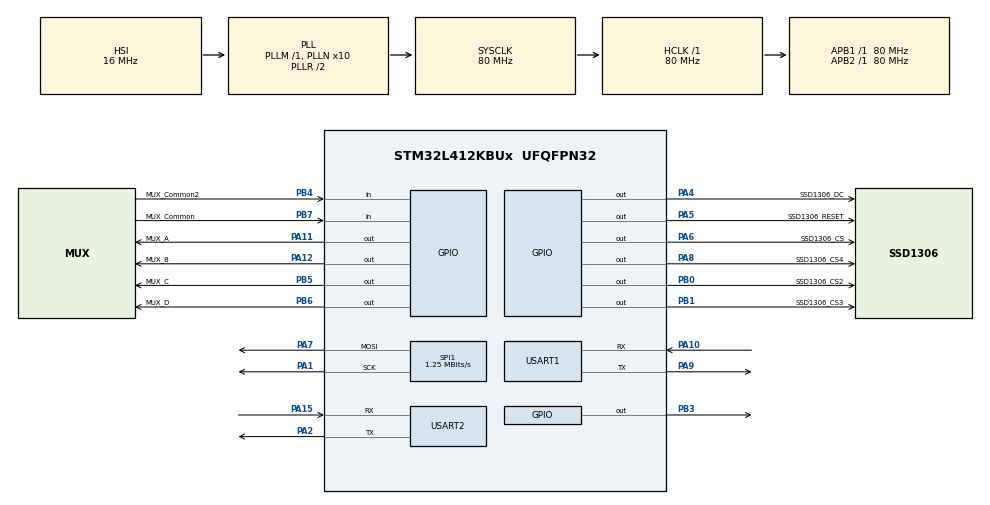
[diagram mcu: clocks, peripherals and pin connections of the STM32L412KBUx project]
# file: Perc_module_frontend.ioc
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Dma.Request0=SPI1_TX
Dma.Request1=USART2_RX
Dma.Request2=USART2_TX
Dma.Request3=USART1_RX
Dma.Request4=USART1_TX
Dma.SPI1_TX.0.Direction=DMA_MEMORY_TO_PERIPH
Dma.SPI1_TX.0.Instance=DMA1_Channel3
Dma.SPI1_TX.0.MemDataAlignment=DMA_MDATAALIGN_BYTE
Dma.SPI1_TX.0.MemInc=DMA_MINC_ENABLE
Dma.SPI1_TX.0.Mode=DMA_NORMAL
Dma.SPI1_TX.0.PeriphDataAlignment=DMA_PDATAALIGN_BYTE
Dma.SPI1_TX.0.PeriphInc=DMA_PINC_DISABLE
Dma.SPI1_TX.0.Priority=DMA_PRIORITY_LOW
Dma.USART1_RX.3.Direction=DMA_PERIPH_TO_MEMORY
Dma.USART1_RX.3.Instance=DMA1_Channel5
Dma.USART1_RX.3.MemDataAlignment=DMA_MDATAALIGN_BYTE
Dma.USART1_RX.3.MemInc=DMA_MINC_ENABLE
Dma.USART1_RX.3.Mode=DMA_NORMAL
Dma.USART1_RX.3.PeriphDataAlignment=DMA_PDATAALIGN_BYTE
Dma.USART1_RX.3.PeriphInc=DMA_PINC_DISABLE
Dma.USART1_RX.3.Priority=DMA_PRIORITY_LOW
Dma.USART1_TX.4.Direction=DMA_MEMORY_TO_PERIPH
Dma.USART1_TX.4.Instance=DMA1_Channel4
Dma.USART1_TX.4.MemDataAlignment=DMA_MDATAALIGN_BYTE
Dma.USART1_TX.4.MemInc=DMA_MINC_ENABLE
Dma.USART1_TX.4.Mode=DMA_NORMAL
Dma.USART1_TX.4.PeriphDataAlignment=DMA_PDATAALIGN_BYTE
Dma.USART1_TX.4.PeriphInc=DMA_PINC_DISABLE
Dma.USART1_TX.4.Priority=DMA_PRIORITY_LOW
Dma.USART2_RX.1.Direction=DMA_PERIPH_TO_MEMORY
Dma.USART2_RX.1.Instance=DMA1_Channel6
Dma.USART2_RX.1.MemDataAlignment=DMA_MDATAALIGN_BYTE
Dma.USART2_RX.1.MemInc=DMA_MINC_ENABLE
Dma.USART2_RX.1.Mode=DMA_NORMAL
Dma.USART2_RX.1.PeriphDataAlignment=DMA_PDATAALIGN_BYTE
Dma.USART2_RX.1.PeriphInc=DMA_PINC_DISABLE
Dma.USART2_RX.1.Priority=DMA_PRIORITY_LOW
Dma.USART2_TX.2.Direction=DMA_MEMORY_TO_PERIPH
Dma.USART2_TX.2.Instance=DMA1_Channel7
Dma.USART2_TX.2.MemDataAlignment=DMA_MDATAALIGN_BYTE
Dma.USART2_TX.2.MemInc=DMA_MINC_ENABLE
Dma.USART2_TX.2.Mode=DMA_NORMAL
Dma.USART2_TX.2.PeriphDataAlignment=DMA_PDATAALIGN_BYTE
Dma.USART2_TX.2.PeriphInc=DMA_PINC_DISABLE
Dma.USART2_TX.2.Priority=DMA_PRIORITY_LOW
Mcu.Family=STM32L4
Mcu.Name=STM32L412KBUx
Mcu.Package=UFQFPN32
NVIC.DMA1_Channel3_IRQn=true\:0\:0\:false\:false\:true\:false\:true\:true
NVIC.DMA1_Channel4_IRQn=true\:0\:0\:false\:false\:true\:false\:true\:true
NVIC.DMA1_Channel5_IRQn=true\:0\:0\:false\:false\:true\:false\:true\:true
NVIC.DMA1_Channel6_IRQn=true\:0\:0\:false\:false\:true\:false\:true\:true
NVIC.DMA1_Channel7_IRQn=true\:0\:0\:false\:false\:true\:false\:true\:true
NVIC.PriorityGroup=NVIC_PRIORITYGROUP_4
NVIC.TIM6_IRQn=true\:0\:0\:false\:false\:true\:true\:true\:true
NVIC.USART1_IRQn=true\:0\:0\:false\:false\:true\:true\:true\:true
NVIC.USART2_IRQn=true\:0\:0\:false\:false\:true\:true\:true\:true
PA0-CK_IN.Mode=HSE-External-Clock-Source-for-LittleOrca
PA0-CK_IN.Signal=RCC_CK_IN
PA1.Mode=TX_Only_Simplex_Unidirect_Master
PA1.Signal=SPI1_SCK
PA10.Mode=Asynchronous
PA10.Signal=USART1_RX
PA11.GPIO_Label=MUX_A
PA11.Signal=GPIO_Output
PA12.GPIO_Label=MUX_B
PA12.Signal=GPIO_Output
PA15\ (JTDI).Mode=Asynchronous
PA15\ (JTDI).Signal=USART2_RX
PA2.Mode=Asynchronous
PA2.Signal=USART2_TX
PA4.GPIO_Label=SSD1306_DC
PA4.Signal=GPIO_Output
PA5.GPIO_Label=SSD1306_RESET
PA5.Signal=GPIO_Output
PA6.GPIO_Label=SSD1306_CS
PA6.Signal=GPIO_Output
PA7.Mode=TX_Only_Simplex_Unidirect_Master
PA7.Signal=SPI1_MOSI
PA8.GPIO_Label=SSD1306_CS4
PA8.Signal=GPIO_Output
PA9.Mode=Asynchronous
PA9.Signal=USART1_TX
PB0.GPIO_Label=SSD1306_CS2
PB0.Signal=GPIO_Output
PB1.GPIO_Label=SSD1306_CS3
PB1.Signal=GPIO_Output
PB3\ (JTDO/TRACESWO).Signal=GPIO_Output
PB4\ (NJTRST).GPIO_Label=MUX_Common2
PB4\ (NJTRST).Signal=GPIO_Input
PB5.GPIO_Label=MUX_C
PB5.Signal=GPIO_Output
PB6.GPIO_Label=MUX_D
PB6.Signal=GPIO_Output
PB7.GPIO_Label=MUX_Common
PB7.GPIO_PuPd=GPIO_NOPULL
PB7.Signal=GPIO_Input
ProjectManager.HeapSize=0x200
ProjectManager.StackSize=0x400
ProjectManager.TargetToolchain=STM32CubeIDE
RCC.ADCFreq_Value=80000000
RCC.AHBFreq_Value=80000000
RCC.APB1Freq_Value=80000000
RCC.APB1TimFreq_Value=80000000
RCC.APB2Freq_Value=80000000
RCC.APB2TimFreq_Value=80000000
RCC.CortexFreq_Value=80000000
RCC.HCLKFreq_Value=80000000
RCC.HSE_VALUE=8000000
RCC.HSI48_VALUE=48000000
RCC.HSI_VALUE=16000000
RCC.LSE_VALUE=32768
RCC.MSI_VALUE=4000000
RCC.PLLN=10
RCC.PLLSourceVirtual=RCC_PLLSOURCE_HSI
RCC.SYSCLKFreq_VALUE=80000000
RCC.SYSCLKSource=RCC_SYSCLKSOURCE_PLLCLK
RCC.USBFreq_Value=4000000
RCC.VCOOutputFreq_Value=160000000
SPI1.BaudRatePrescaler=SPI_BAUDRATEPRESCALER_64
SPI1.CalculateBaudRate=1.25 MBits/s
SPI1.DataSize=SPI_DATASIZE_8BIT
SPI1.Direction=SPI_DIRECTION_2LINES
SPI1.Mode=SPI_MODE_MASTER
SPI1.VirtualType=VM_MASTER
TIM6.Period=1000
TIM6.Prescaler=80
USART1.VirtualMode-Asynchronous=VM_ASYNC
USART2.VirtualMode-Asynchronous=VM_ASYNC
VP_TIM6_VS_ClockSourceINT.Mode=Enable_Timer
board=custom

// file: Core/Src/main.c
/* USER CODE BEGIN Header */
/**
  ******************************************************************************
  * @file           : main.c
  * @brief          : Main program body
  ******************************************************************************
  * @attention
  *
  * Copyright (c) 2024 STMicroelectronics.
  * All rights reserved.
  *
  * This software is licensed under terms that can be found in the LICENSE file
  * in the root directory of this software component.
  * If no LICENSE file comes with this software, it is provided AS-IS.
  *
  ******************************************************************************
  */
/* USER CODE END Header */
#include "main.h"
#include "dma.h"
#include "spi.h"
#include "tim.h"
#include "usart.h"
#include "gpio.h"

/* USER CODE BEGIN Includes */
#include "cpp_main.h"
#include "OLED_SSD1306.h"
/* USER CODE END Includes */

/* USER CODE BEGIN PV */
#define buffersize 255
uint8_t uartbuffer1[buffersize] = {0};
uint8_t uartbuffer2[buffersize] = {0};
/* USER CODE END PV */

void SystemClock_Config(void);

int main(void)
{

  /* MCU Configuration--------------------------------------------------------*/

  /* Reset of all peripherals, Initializes the Flash interface and the Systick. */
  HAL_Init();

  /* Configure the system clock */
  SystemClock_Config();

  /* Initialize all configured peripherals */
  MX_GPIO_Init();
  MX_DMA_Init();
  MX_SPI1_Init();
  MX_USART1_UART_Init();
  MX_USART2_UART_Init();
  MX_TIM6_Init();
  /* USER CODE BEGIN 2 */
  setup();
  HAL_UARTEx_ReceiveToIdle_DMA(&huart1, uartbuffer1, buffersize);
  HAL_UARTEx_ReceiveToIdle_DMA(&huart2, uartbuffer2, buffersize);
  if (HAL_TIM_Base_Start_IT(&htim6) != HAL_OK)
  {
	/* Starting Error */
	Error_Handler();
  }

  /* USER CODE END 2 */

  /* Infinite loop */
  /* USER CODE BEGIN WHILE */

  while (1)
  {
	 refreshScreens();
	 HAL_Delay(20);

    /* USER CODE END WHILE */

  }
}

void SystemClock_Config(void)
{
  RCC_OscInitTypeDef RCC_OscInitStruct = {0};
  RCC_ClkInitTypeDef RCC_ClkInitStruct = {0};

  /** Configure the main internal regulator output voltage
  */
  if (HAL_PWREx_ControlVoltageScaling(PWR_REGULATOR_VOLTAGE_SCALE1) != HAL_OK)
  {
    Error_Handler();
  }

  /** Initializes the RCC Oscillators according to the specified parameters
  * in the RCC_OscInitTypeDef structure.
  */
  RCC_OscInitStruct.OscillatorType = RCC_OSCILLATORTYPE_HSI;
  RCC_OscInitStruct.HSIState = RCC_HSI_ON;
  RCC_OscInitStruct.HSICalibrationValue = RCC_HSICALIBRATION_DEFAULT;
  RCC_OscInitStruct.PLL.PLLState = RCC_PLL_ON;
  RCC_OscInitStruct.PLL.PLLSource = RCC_PLLSOURCE_HSI;
  RCC_OscInitStruct.PLL.PLLM = 1;
  RCC_OscInitStruct.PLL.PLLN = 10;
  RCC_OscInitStruct.PLL.PLLQ = RCC_PLLQ_DIV2;
  RCC_OscInitStruct.PLL.PLLR = RCC_PLLR_DIV2;
  if (HAL_RCC_OscConfig(&RCC_OscInitStruct) != HAL_OK)
  {
    Error_Handler();
  }

  /** Initializes the CPU, AHB and APB buses clocks
  */
  RCC_ClkInitStruct.ClockType = RCC_CLOCKTYPE_HCLK|RCC_CLOCKTYPE_SYSCLK
                              |RCC_CLOCKTYPE_PCLK1|RCC_CLOCKTYPE_PCLK2;
  RCC_ClkInitStruct.SYSCLKSource = RCC_SYSCLKSOURCE_PLLCLK;
  RCC_ClkInitStruct.AHBCLKDivider = RCC_SYSCLK_DIV1;
  RCC_ClkInitStruct.APB1CLKDivider = RCC_HCLK_DIV1;
  RCC_ClkInitStruct.APB2CLKDivider = RCC_HCLK_DIV1;

  if (HAL_RCC_ClockConfig(&RCC_ClkInitStruct, FLASH_LATENCY_4) != HAL_OK)
  {
    Error_Handler();
  }
}

/* USER CODE BEGIN 4 */
void HAL_SPI_TxCpltCallback(SPI_HandleTypeDef *hspi)
{
#if defined(SSD1306_SPI_CONTROL) && defined(SSD1306_SPI_DMA_ENABLE)
	SSD1306_DmaEndCallback(hspi);
#endif
}

void HAL_TIM_PeriodElapsedCallback(TIM_HandleTypeDef *htim){
	if (htim == &htim6){
		EncoderInterrupt();
	}
}

void HAL_UARTEx_RxEventCallback(UART_HandleTypeDef *huart, uint16_t Size)
{
    if(huart == &huart1)		//robimy to samo co przy UART2 (to do kompa), ale bez retransmisji bo i po co?
    {
    	messageReceived(&uartbuffer1, Size);
    	//HAL_UART_Transmit_DMA(&huart2, uartbuffer2, Size);
        // Start to listening again - IMPORTANT!
        HAL_UARTEx_ReceiveToIdle_DMA(&huart1, uartbuffer1, buffersize);
    }
    if(huart == &huart2)
	{
		messageReceived(&uartbuffer2, Size);
		//HAL_UART_Transmit_DMA(&huart2, uartbuffer2, Size);
		// Start to listening again - IMPORTANT!
		HAL_UARTEx_ReceiveToIdle_DMA(&huart2, uartbuffer2, buffersize);
	}
}

void HAL_UART_ErrorCallback(UART_HandleTypeDef *huart) {
  if (huart == &huart1){
	  HAL_UARTEx_ReceiveToIdle_DMA(&huart1, uartbuffer1, buffersize);
  }
  if (huart == &huart2){
      HAL_UARTEx_ReceiveToIdle_DMA(&huart2, uartbuffer2, buffersize);
  }
}
/* USER CODE END 4 */

void Error_Handler(void)
{
  __disable_irq();
  while (1)
  {
  }
}
